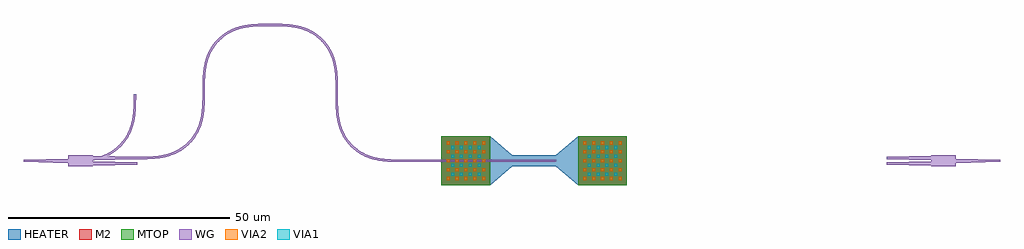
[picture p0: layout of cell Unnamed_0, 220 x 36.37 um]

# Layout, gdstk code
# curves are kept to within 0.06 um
from math import pi, radians
import gdstk
lib = gdstk.Library(unit=1e-6, precision=1e-09)
def R(c, l, rs):  # rectangles x0, y0, x1, y1
    for r in rs: c.add(gdstk.rectangle(r[:2], r[2:], *l))
def A(c, l, x, y, w, h, nx, ny, dx, dy):  # array of equal rectangles
    R(c, l, [(x+i*dx, y+j*dy, x+i*dx+w, y+j*dy+h) for i in range(nx) for j in range(ny)])
def P(c, l, *ps):  # polygons
    for p in ps: c.add(gdstk.Polygon(p, *l))
WG = (1, 0)
VIA2 = (43, 0)
VIA1 = (44, 0)
M2 = (45, 0)
HEATER = (47, 0)
MTOP = (49, 0)

straight_heater_metal_u_ = lib.new_cell('straight_heater_metal_u_385113d0')
R(straight_heater_metal_u_, WG, [(0,-0.25,10,0.25)])
A(straight_heater_metal_u_, VIA2, -14.75, -4.35, 0.7, 0.7, 5, 5, 2, 2)
A(straight_heater_metal_u_, VIA2, 16.05, -4.35, 0.7, 0.7, 5, 5, 2, 2)
A(straight_heater_metal_u_, VIA1, -13.75, -3.35, 0.7, 0.7, 4, 4, 2, 2)
A(straight_heater_metal_u_, VIA1, 17.05, -3.35, 0.7, 0.7, 4, 4, 2, 2)
R(straight_heater_metal_u_, M2, [(-15.9,-5.5,-4.9,5.5), (14.9,-5.5,25.9,5.5)])
P(straight_heater_metal_u_, HEATER, [(-15.9,-5.5),(-15.9,5.5),(-4.9,5.5),(0.1,1.25),(9.9,1.25),(14.9,5.5),(25.9,5.5),(25.9,-5.5),(14.9,-5.5),(9.9,-1.25),(0.1,-1.25),(-4.9,-5.5)])
R(straight_heater_metal_u_, MTOP, [(-15.9,-5.5,-4.9,5.5), (14.9,-5.5,25.9,5.5)])

mmi1x2_wnone_wt1_lt10_l_ = lib.new_cell('mmi1x2_WNone_WT1_LT10_L_4e0f7121')
P(mmi1x2_wnone_wt1_lt10_l_, WG, [(0,-1.25),(0,-0.5),(-10,-0.25),(-10,0.25),(0,0.5),(0,1.25),(5.5,1.25),(5.5,1.125),(15.5,0.875),(15.5,0.375),(5.5,0.125),(5.5,-0.125),(15.5,-0.375),(15.5,-0.875),(5.5,-1.125),(5.5,-1.25)])

bend_euler_r15_a90_p0p5_ = lib.new_cell('bend_euler_R15_A90_P0p5_14998747')
P(bend_euler_r15_a90_p0p5_, WG, [(0,-0.25),(0,0.25),(2.31,0.273),(4.332,0.406),(5.924,0.652),(7.346,1.03),(8.467,1.471),(9.541,2.045),(10.54,2.741),(11.45,3.55),(12.259,4.46),(12.955,5.459),(13.529,6.533),(13.97,7.654),(14.348,9.076),(14.594,10.668),(14.727,12.69),(14.75,15),(15.25,15),(15.222,12.537),(15.106,10.752),(14.891,9.246),(14.569,7.896),(14.099,6.583),(13.527,5.441),(12.739,4.262),(11.804,3.196),(10.738,2.261),(9.559,1.473),(8.417,0.901),(7.104,0.431),(5.754,0.109),(4.248,-0.106),(2.463,-0.222)])

straight_l24p5_n2_csstri = lib.new_cell('straight_L24p5_N2_CSstrip_WNone')
R(straight_l24p5_n2_csstri, WG, [(0,-0.25,24.5,0.25)])

straight_l0p625_n2_csstr = lib.new_cell('straight_L0p625_N2_CSstrip_WNone')
R(straight_l0p625_n2_csstr, WG, [(0,-0.25,0.625,0.25)])

unnamed_0 = lib.new_cell('Unnamed_0')
unnamed_0.add(gdstk.Reference(straight_heater_metal_u_, (100,0)))
unnamed_0.add(gdstk.Reference(mmi1x2_wnone_wt1_lt10_l_, (200,0), rotation=pi, x_reflection=True))
unnamed_0.add(gdstk.Reference(mmi1x2_wnone_wt1_lt10_l_, (0,0)))
unnamed_0.add(gdstk.Reference(bend_euler_r15_a90_p0p5_, (0,0)))
unnamed_0.add(gdstk.Reference(straight_l24p5_n2_csstri, (75.5,0)))
unnamed_0.add(gdstk.Reference(straight_l0p625_n2_csstr, (60.5,15), rotation=pi/2))
unnamed_0.add(gdstk.Reference(bend_euler_r15_a90_p0p5_, (75.5,0), rotation=pi, x_reflection=True))
unnamed_0.add(gdstk.Reference(bend_euler_r15_a90_p0p5_, (60.5,15.625), rotation=pi/2))
unnamed_0.add(gdstk.Reference(bend_euler_r15_a90_p0p5_, (45.5,30.625), rotation=pi))
unnamed_0.add(gdstk.Reference(bend_euler_r15_a90_p0p5_, (30.5,15.625), rotation=3*pi/2, x_reflection=True))

lib.write_gds('Unnamed_0.gds')
